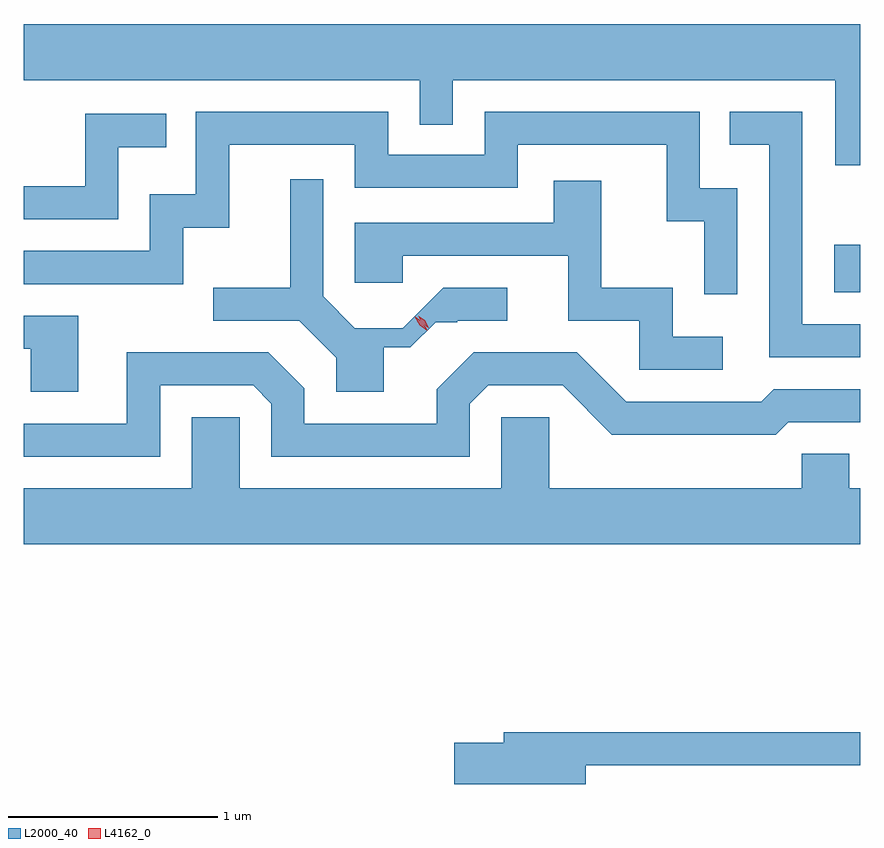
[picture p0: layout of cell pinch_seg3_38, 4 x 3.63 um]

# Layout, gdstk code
import gdstk
lib = gdstk.Library(unit=1e-6, precision=1e-09)
def R(c, l, rs):  # rectangles x0, y0, x1, y1
    for r in rs: c.add(gdstk.rectangle(r[:2], r[2:], *l))
def P(c, l, *ps):  # polygons
    for p in ps: c.add(gdstk.Polygon(p, *l))
L2000_40 = (2000, 40)
L4162_0 = (4162, 0)

pinch_seg3_38 = lib.new_cell('pinch_seg3_38')
R(pinch_seg3_38, L2000_40, [(1747.771,1129.441,1747.897,1129.669)])
P(pinch_seg3_38, L2000_40, [(1747.897,1130.724),(1743.897,1130.724),(1743.897,1130.456),(1745.791,1130.456),(1745.791,1130.243),(1745.949,1130.243),(1745.949,1130.456),(1747.776,1130.456),(1747.776,1130.048),(1747.897,1130.048)],
  [(1747.897,1129.289),(1747.619,1129.289),(1747.619,1130.304),(1747.273,1130.304),(1747.273,1130.146),(1747.461,1130.146),(1747.461,1129.131),(1747.897,1129.131)],
  [(1747.309,1129.939),(1747.129,1129.939),(1747.129,1130.304),(1746.101,1130.304),(1746.101,1130.099),(1745.639,1130.099),(1745.639,1130.304),(1744.721,1130.304),(1744.721,1129.909),(1744.501,1129.909),(1744.501,1129.639),(1743.897,1129.639),(1743.897,1129.481),(1744.659,1129.481),(1744.659,1129.751),(1744.879,1129.751),(1744.879,1130.146),(1745.481,1130.146),(1745.481,1129.941),(1746.259,1129.941),(1746.259,1130.146),(1746.971,1130.146),(1746.971,1129.781),(1747.151,1129.781),(1747.151,1129.433),(1747.309,1129.433)],
  [(1744.349,1130.136),(1744.578,1130.136),(1744.578,1130.294),(1744.191,1130.294),(1744.191,1129.949),(1743.897,1129.949),(1743.897,1129.791),(1744.349,1129.791)],
  [(1745.619,1129.178),(1745.746,1129.178),(1745.867,1129.299),(1745.969,1129.299),(1745.969,1129.306),(1746.208,1129.306),(1746.208,1129.464),(1745.904,1129.464),(1745.71,1129.27),(1745.481,1129.27),(1745.329,1129.422),(1745.329,1129.983),(1745.171,1129.983),(1745.171,1129.464),(1744.803,1129.464),(1744.803,1129.306),(1745.214,1129.306),(1745.391,1129.129),(1745.391,1128.966),(1745.619,1128.966)],
  [(1747.238,1129.229),(1746.999,1129.229),(1746.999,1129.464),(1746.659,1129.464),(1746.659,1129.974),(1746.431,1129.974),(1746.431,1129.774),(1745.481,1129.774),(1745.481,1129.486),(1745.709,1129.486),(1745.709,1129.616),(1746.501,1129.616),(1746.501,1129.306),(1746.841,1129.306),(1746.841,1129.071),(1747.238,1129.071)],
  [(1744.159,1129.329),(1743.897,1129.329),(1743.897,1129.171),(1743.931,1129.171),(1743.931,1128.966),(1744.159,1128.966)],
  [(1744.549,1128.996),(1744.994,1128.996),(1745.081,1128.909),(1745.081,1128.656),(1746.029,1128.656),(1746.029,1128.909),(1746.117,1128.996),(1746.474,1128.996),(1746.709,1128.761),(1747.492,1128.761),(1747.552,1128.821),(1747.897,1128.821),(1747.897,1128.979),(1747.484,1128.979),(1747.424,1128.919),(1746.777,1128.919),(1746.542,1129.154),(1746.049,1129.154),(1745.871,1128.977),(1745.871,1128.814),(1745.239,1128.814),(1745.239,1128.982),(1745.067,1129.154),(1744.391,1129.154),(1744.391,1128.814),(1743.897,1128.814),(1743.897,1128.656),(1744.549,1128.656)],
  [(1747.897,1128.504),(1747.844,1128.504),(1747.844,1128.669),(1747.616,1128.669),(1747.616,1128.504),(1746.409,1128.504),(1746.409,1128.844),(1746.181,1128.844),(1746.181,1128.504),(1744.929,1128.504),(1744.929,1128.844),(1744.701,1128.844),(1744.701,1128.504),(1743.897,1128.504),(1743.897,1128.236),(1747.897,1128.236)],
  [(1746.584,1127.181),(1747.897,1127.181),(1747.897,1127.339),(1746.191,1127.339),(1746.191,1127.289),(1745.956,1127.289),(1745.956,1127.091),(1746.584,1127.091)])
P(pinch_seg3_38, L4162_0, [(1745.826,1129.258),(1745.79,1129.285),(1745.767,1129.324),(1745.767,1129.325),(1745.768,1129.325),(1745.804,1129.298),(1745.826,1129.259),(1745.826,1129.258)],
  [(1745.832,1129.272),(1745.8,1129.295),(1745.783,1129.33),(1745.783,1129.33),(1745.783,1129.33),(1745.815,1129.308),(1745.833,1129.273),(1745.833,1129.272)])

lib.write_gds('pinch_seg3_38.gds')
